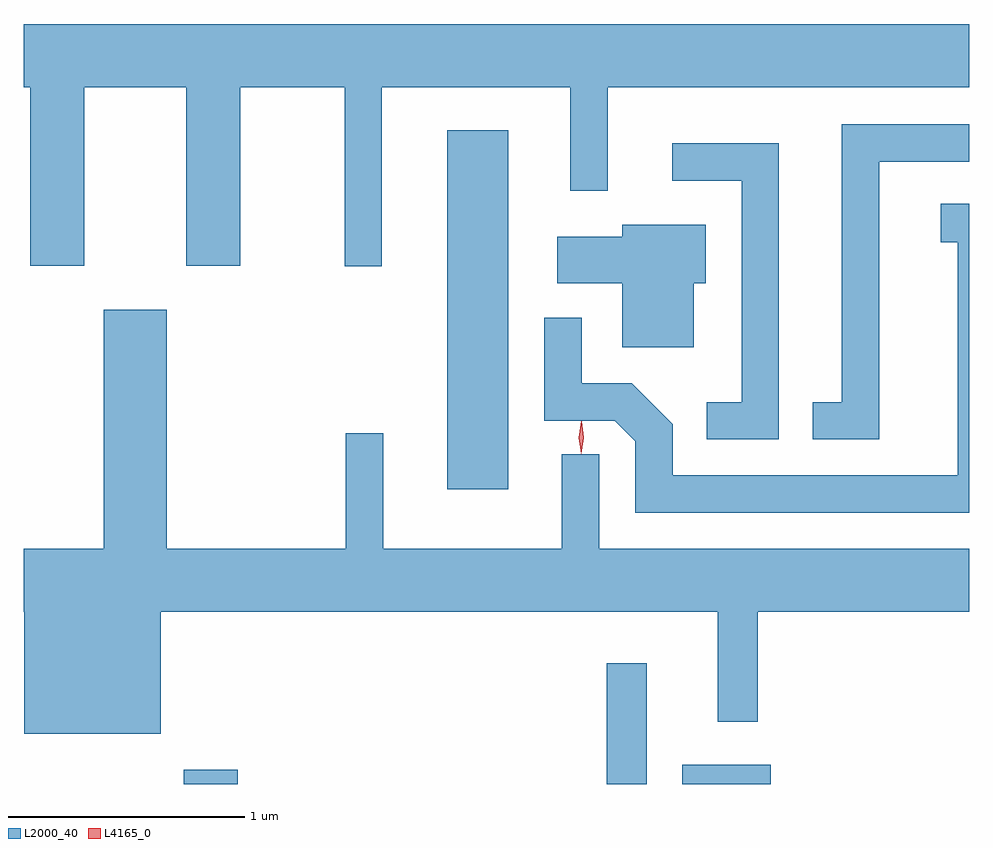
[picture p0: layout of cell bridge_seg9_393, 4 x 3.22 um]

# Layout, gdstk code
import gdstk
lib = gdstk.Library(unit=1e-6, precision=1e-09)
def R(c, l, rs):  # rectangles x0, y0, x1, y1
    for r in rs: c.add(gdstk.rectangle(r[:2], r[2:], *l))
def P(c, l, *ps):  # polygons
    for p in ps: c.add(gdstk.Polygon(p, *l))
L2000_40 = (2000, 40)
L4165_0 = (4165, 0)

bridge_seg9_393 = lib.new_cell('bridge_seg9_393')
R(bridge_seg9_393, L2000_40, [(477.191,2053.248,477.419,2053.309), (478.981,2053.248,479.149,2053.758), (479.301,2053.248,479.674,2053.329), (478.306,2054.496,478.564,2056.014)])
P(bridge_seg9_393, L2000_40, [(478.029,2056.196),(478.826,2056.196),(478.826,2055.758),(478.984,2055.758),(478.984,2056.196),(480.514,2056.196),(480.514,2056.464),(476.514,2056.464),(476.514,2056.196),(476.541,2056.196),(476.541,2055.441),(476.769,2055.441),(476.769,2056.196),(477.201,2056.196),(477.201,2055.441),(477.429,2055.441),(477.429,2056.196),(477.871,2056.196),(477.871,2055.438),(478.029,2055.438)],
  [(480.134,2055.881),(480.514,2055.881),(480.514,2056.039),(479.976,2056.039),(479.976,2054.864),(479.853,2054.864),(479.853,2054.706),(480.134,2054.706)],
  [(479.709,2055.959),(479.258,2055.959),(479.258,2055.801),(479.551,2055.801),(479.551,2054.864),(479.403,2054.864),(479.403,2054.706),(479.709,2054.706)],
  [(480.514,2055.704),(480.393,2055.704),(480.393,2055.541),(480.466,2055.541),(480.466,2054.554),(479.259,2054.554),(479.259,2054.771),(479.087,2054.944),(478.874,2054.944),(478.874,2055.222),(478.716,2055.222),(478.716,2054.786),(479.014,2054.786),(479.101,2054.699),(479.101,2054.396),(480.514,2054.396)],
  [(479.349,2055.366),(479.399,2055.366),(479.399,2055.614),(479.046,2055.614),(479.046,2055.564),(478.771,2055.564),(478.771,2055.366),(479.046,2055.366),(479.046,2055.096),(479.349,2055.096)],
  [(477.094,2053.976),(479.451,2053.976),(479.451,2053.512),(479.619,2053.512),(479.619,2053.976),(480.514,2053.976),(480.514,2054.244),(478.949,2054.244),(478.949,2054.643),(478.791,2054.643),(478.791,2054.244),(478.034,2054.244),(478.034,2054.733),(477.876,2054.733),(477.876,2054.244),(477.119,2054.244),(477.119,2055.254),(476.851,2055.254),(476.851,2054.244),(476.514,2054.244),(476.514,2053.976),(476.516,2053.976),(476.516,2053.461),(477.094,2053.461)])
P(bridge_seg9_393, L4165_0, [(478.872,2054.647),(478.872,2054.648),(478.863,2054.714),(478.873,2054.78),(478.874,2054.781),(478.874,2054.78),(478.883,2054.714),(478.873,2054.648)],
  [(478.872,2054.644),(478.872,2054.645),(478.863,2054.714),(478.873,2054.783),(478.874,2054.783),(478.874,2054.783),(478.883,2054.714),(478.873,2054.645)])

lib.write_gds('bridge_seg9_393.gds')
